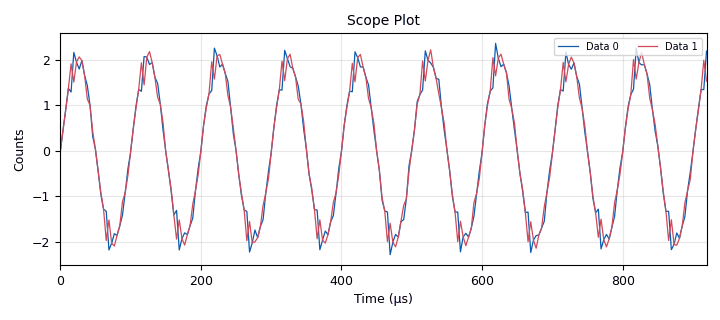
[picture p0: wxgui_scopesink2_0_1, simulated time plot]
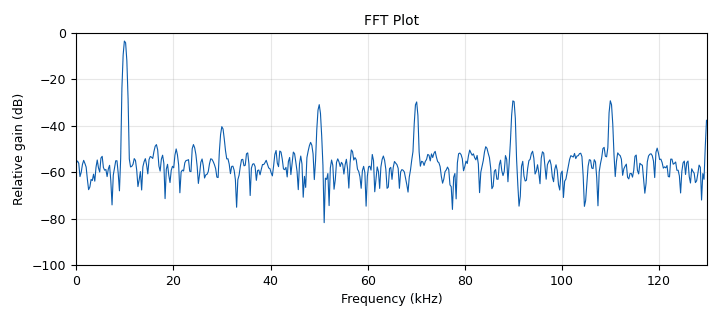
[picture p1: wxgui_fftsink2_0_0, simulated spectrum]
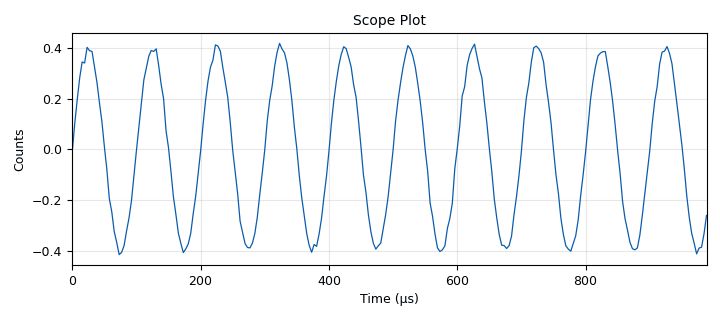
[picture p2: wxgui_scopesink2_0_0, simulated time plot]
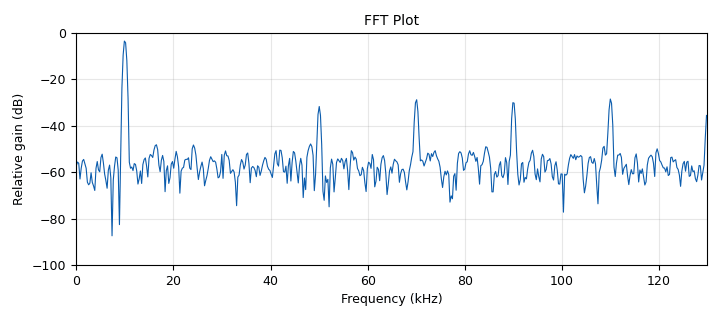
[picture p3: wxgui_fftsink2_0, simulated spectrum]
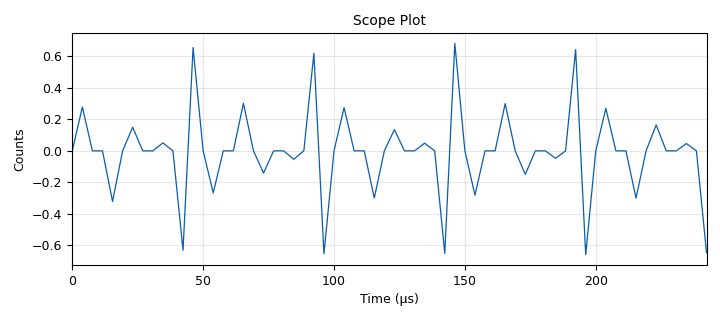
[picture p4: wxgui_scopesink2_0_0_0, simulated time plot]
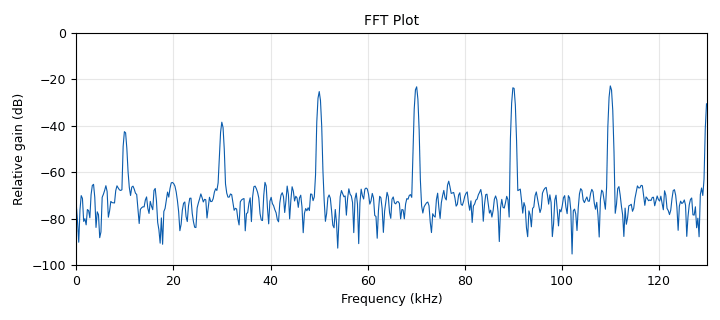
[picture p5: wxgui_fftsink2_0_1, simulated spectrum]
<?xml version='1.0' encoding='utf-8'?>
<flow_graph>
<block>
<key>options</key>
<param><key>id</key><value>top_block</value></param>
<param><key>generate_options</key><value>wx_gui</value></param>
<param><key>category</key><value>Custom</value></param>
</block>
<block>
<key>variable</key>
<param><key>id</key><value>samp_rate</value></param>
<param><key>value</key><value>260000</value></param>
</block>
<block>
<key>blocks_multiply_xx</key>
<param><key>id</key><value>blocks_multiply_xx_0_0</value></param>
<param><key>type</key><value>float</value></param>
</block>
<block>
<key>analog_sig_source_x</key>
<param><key>id</key><value>analog_sig_source_x_0_1</value></param>
<param><key>type</key><value>float</value></param>
<param><key>samp_rate</key><value>samp_rate</value></param>
<param><key>waveform</key><value>analog.GR_COS_WAVE</value></param>
<param><key>freq</key><value>100000</value></param>
<param><key>amp</key><value>1</value></param>
<param><key>offset</key><value>0</value></param>
</block>
<block>
<key>blocks_multiply_xx</key>
<param><key>id</key><value>blocks_multiply_xx_0_0_0</value></param>
<param><key>type</key><value>float</value></param>
</block>
<block>
<key>analog_sig_source_x</key>
<param><key>id</key><value>analog_sig_source_x_2</value></param>
<param><key>type</key><value>float</value></param>
<param><key>samp_rate</key><value>samp_rate</value></param>
<param><key>waveform</key><value>analog.GR_SQR_WAVE</value></param>
<param><key>freq</key><value>100000</value></param>
<param><key>amp</key><value>1</value></param>
<param><key>offset</key><value>0</value></param>
</block>
<block>
<key>analog_sig_source_x</key>
<param><key>id</key><value>analog_sig_source_x_2_0</value></param>
<param><key>type</key><value>float</value></param>
<param><key>samp_rate</key><value>samp_rate</value></param>
<param><key>waveform</key><value>analog.GR_SQR_WAVE</value></param>
<param><key>freq</key><value>100000</value></param>
<param><key>amp</key><value>1</value></param>
<param><key>offset</key><value>0</value></param>
</block>
<block>
<key>blocks_sub_xx</key>
<param><key>id</key><value>blocks_sub_xx_0</value></param>
<param><key>type</key><value>float</value></param>
</block>
<block>
<key>wxgui_scopesink2</key>
<param><key>id</key><value>wxgui_scopesink2_0_1</value></param>
<param><key>type</key><value>float</value></param>
<param><key>title</key><value>Scope Plot</value></param>
<param><key>samp_rate</key><value>samp_rate</value></param>
<param><key>v_scale</key><value>0</value></param>
<param><key>v_offset</key><value>0</value></param>
<param><key>t_scale</key><value>0</value></param>
<param><key>ac_couple</key><value>False</value></param>
<param><key>xy_mode</key><value>False</value></param>
<param><key>num_inputs</key><value>2</value></param>
<param><key>notebook</key><value>note,1</value></param>
<param><key>trig_mode</key><value>wxgui.TRIG_MODE_AUTO</value></param>
<param><key>y_axis_label</key><value>Counts</value></param>
</block>
<block>
<key>blocks_multiply_xx</key>
<param><key>id</key><value>blocks_multiply_xx_0_1</value></param>
<param><key>type</key><value>float</value></param>
</block>
<block>
<key>blocks_sub_xx</key>
<param><key>id</key><value>blocks_sub_xx_1</value></param>
<param><key>type</key><value>float</value></param>
</block>
<block>
<key>wxgui_fftsink2</key>
<param><key>id</key><value>wxgui_fftsink2_0_0</value></param>
<param><key>type</key><value>float</value></param>
<param><key>title</key><value>FFT Plot</value></param>
<param><key>samp_rate</key><value>samp_rate</value></param>
<param><key>baseband_freq</key><value>0</value></param>
<param><key>y_per_div</key><value>10</value></param>
<param><key>y_divs</key><value>10</value></param>
<param><key>ref_level</key><value>0</value></param>
<param><key>ref_scale</key><value>2.0</value></param>
<param><key>fft_size</key><value>1024</value></param>
<param><key>fft_rate</key><value>15</value></param>
<param><key>peak_hold</key><value>False</value></param>
<param><key>average</key><value>False</value></param>
<param><key>avg_alpha</key><value>0</value></param>
<param><key>win</key><value>None</value></param>
<param><key>notebook</key><value>note,3</value></param>
<param><key>freqvar</key><value>None</value></param>
</block>
<block>
<key>blocks_throttle</key>
<param><key>id</key><value>blocks_throttle_0</value></param>
<param><key>type</key><value>float</value></param>
<param><key>samples_per_second</key><value>samp_rate</value></param>
</block>
<block>
<key>blocks_multiply_xx</key>
<param><key>id</key><value>blocks_multiply_xx_0</value></param>
<param><key>type</key><value>float</value></param>
</block>
<block>
<key>blocks_add_xx</key>
<param><key>id</key><value>blocks_add_xx_1</value></param>
<param><key>type</key><value>float</value></param>
</block>
<block>
<key>wxgui_scopesink2</key>
<param><key>id</key><value>wxgui_scopesink2_0_0</value></param>
<param><key>type</key><value>float</value></param>
<param><key>title</key><value>Scope Plot</value></param>
<param><key>samp_rate</key><value>samp_rate</value></param>
<param><key>v_scale</key><value>0</value></param>
<param><key>v_offset</key><value>0</value></param>
<param><key>t_scale</key><value>0</value></param>
<param><key>ac_couple</key><value>False</value></param>
<param><key>xy_mode</key><value>False</value></param>
<param><key>num_inputs</key><value>1</value></param>
<param><key>notebook</key><value>note,2</value></param>
<param><key>trig_mode</key><value>wxgui.TRIG_MODE_AUTO</value></param>
<param><key>y_axis_label</key><value>Counts</value></param>
</block>
<block>
<key>wxgui_fftsink2</key>
<param><key>id</key><value>wxgui_fftsink2_0</value></param>
<param><key>type</key><value>float</value></param>
<param><key>title</key><value>FFT Plot</value></param>
<param><key>samp_rate</key><value>samp_rate</value></param>
<param><key>baseband_freq</key><value>0</value></param>
<param><key>y_per_div</key><value>10</value></param>
<param><key>y_divs</key><value>10</value></param>
<param><key>ref_level</key><value>0</value></param>
<param><key>ref_scale</key><value>2.0</value></param>
<param><key>fft_size</key><value>1024</value></param>
<param><key>fft_rate</key><value>15</value></param>
<param><key>peak_hold</key><value>False</value></param>
<param><key>average</key><value>False</value></param>
<param><key>avg_alpha</key><value>0</value></param>
<param><key>win</key><value>None</value></param>
<param><key>notebook</key><value>note,4</value></param>
<param><key>freqvar</key><value>None</value></param>
</block>
<block>
<key>wxgui_scopesink2</key>
<param><key>id</key><value>wxgui_scopesink2_0_0_0</value></param>
<param><key>type</key><value>float</value></param>
<param><key>title</key><value>Scope Plot</value></param>
<param><key>samp_rate</key><value>samp_rate</value></param>
<param><key>v_scale</key><value>0</value></param>
<param><key>v_offset</key><value>0</value></param>
<param><key>t_scale</key><value>0</value></param>
<param><key>ac_couple</key><value>False</value></param>
<param><key>xy_mode</key><value>False</value></param>
<param><key>num_inputs</key><value>1</value></param>
<param><key>notebook</key><value>note,0</value></param>
<param><key>trig_mode</key><value>wxgui.TRIG_MODE_AUTO</value></param>
<param><key>y_axis_label</key><value>Counts</value></param>
</block>
<block>
<key>analog_sig_source_x</key>
<param><key>id</key><value>analog_sig_source_x_0_0</value></param>
<param><key>type</key><value>float</value></param>
<param><key>samp_rate</key><value>samp_rate</value></param>
<param><key>waveform</key><value>analog.GR_SIN_WAVE</value></param>
<param><key>freq</key><value>10000</value></param>
<param><key>amp</key><value>.4</value></param>
<param><key>offset</key><value>0</value></param>
</block>
<block>
<key>analog_noise_source_x</key>
<param><key>id</key><value>analog_noise_source_x_0</value></param>
<param><key>type</key><value>float</value></param>
<param><key>noise_type</key><value>analog.GR_GAUSSIAN</value></param>
<param><key>amp</key><value>.01</value></param>
<param><key>seed</key><value>0</value></param>
</block>
<block>
<key>blocks_add_xx</key>
<param><key>id</key><value>blocks_add_xx_0</value></param>
<param><key>type</key><value>float</value></param>
</block>
<block>
<key>wxgui_fftsink2</key>
<param><key>id</key><value>wxgui_fftsink2_0_1</value></param>
<param><key>type</key><value>float</value></param>
<param><key>title</key><value>FFT Plot</value></param>
<param><key>samp_rate</key><value>samp_rate</value></param>
<param><key>baseband_freq</key><value>0</value></param>
<param><key>y_per_div</key><value>10</value></param>
<param><key>y_divs</key><value>10</value></param>
<param><key>ref_level</key><value>0</value></param>
<param><key>ref_scale</key><value>2.0</value></param>
<param><key>fft_size</key><value>1024</value></param>
<param><key>fft_rate</key><value>15</value></param>
<param><key>peak_hold</key><value>False</value></param>
<param><key>average</key><value>False</value></param>
<param><key>avg_alpha</key><value>0</value></param>
<param><key>win</key><value>None</value></param>
<param><key>notebook</key><value>note,5</value></param>
<param><key>freqvar</key><value>None</value></param>
</block>
<block>
<key>notebook</key>
<param><key>id</key><value>note</value></param>
<param><key>style</key><value>wx.NB_TOP</value></param>
<param><key>labels</key><value>['B-C', 'B &amp; C','A','FFT B','FFT B-C','FFT C']</value></param>
</block>
<block>
<key>analog_sig_source_x</key>
<param><key>id</key><value>analog_sig_source_x_0</value></param>
<param><key>type</key><value>float</value></param>
<param><key>samp_rate</key><value>samp_rate</value></param>
<param><key>waveform</key><value>analog.GR_COS_WAVE</value></param>
<param><key>freq</key><value>100000</value></param>
<param><key>amp</key><value>1</value></param>
<param><key>offset</key><value>0</value></param>
</block>
<block>
<key>analog_sig_source_x</key>
<param><key>id</key><value>analog_sig_source_x_1</value></param>
<param><key>type</key><value>float</value></param>
<param><key>samp_rate</key><value>samp_rate</value></param>
<param><key>waveform</key><value>analog.GR_CONST_WAVE</value></param>
<param><key>freq</key><value>0</value></param>
<param><key>amp</key><value>5</value></param>
<param><key>offset</key><value>0</value></param>
</block>
<block>
<key>analog_sig_source_x</key>
<param><key>id</key><value>analog_sig_source_x_1_0</value></param>
<param><key>type</key><value>float</value></param>
<param><key>samp_rate</key><value>samp_rate</value></param>
<param><key>waveform</key><value>analog.GR_CONST_WAVE</value></param>
<param><key>freq</key><value>0</value></param>
<param><key>amp</key><value>5</value></param>
<param><key>offset</key><value>0</value></param>
</block>
<connection><source_block_id>analog_noise_source_x_0</source_block_id><sink_block_id>blocks_add_xx_0</sink_block_id><source_key>0</source_key><sink_key>1</sink_key></connection>
<connection><source_block_id>analog_sig_source_x_0_0</source_block_id><sink_block_id>blocks_add_xx_0</sink_block_id><source_key>0</source_key><sink_key>0</sink_key></connection>
<connection><source_block_id>blocks_multiply_xx_0_0</source_block_id><sink_block_id>blocks_add_xx_1</sink_block_id><source_key>0</source_key><sink_key>1</sink_key></connection>
<connection><source_block_id>analog_sig_source_x_1</source_block_id><sink_block_id>blocks_add_xx_1</sink_block_id><source_key>0</source_key><sink_key>0</sink_key></connection>
<connection><source_block_id>analog_sig_source_x_2</source_block_id><sink_block_id>blocks_multiply_xx_0_0</sink_block_id><source_key>0</source_key><sink_key>1</sink_key></connection>
<connection><source_block_id>analog_sig_source_x_0</source_block_id><sink_block_id>blocks_multiply_xx_0_0</sink_block_id><source_key>0</source_key><sink_key>0</sink_key></connection>
<connection><source_block_id>blocks_add_xx_1</source_block_id><sink_block_id>blocks_multiply_xx_0</sink_block_id><source_key>0</source_key><sink_key>0</sink_key></connection>
<connection><source_block_id>analog_sig_source_x_2_0</source_block_id><sink_block_id>blocks_multiply_xx_0_0_0</sink_block_id><source_key>0</source_key><sink_key>1</sink_key></connection>
<connection><source_block_id>analog_sig_source_x_0_1</source_block_id><sink_block_id>blocks_multiply_xx_0_0_0</sink_block_id><source_key>0</source_key><sink_key>0</sink_key></connection>
<connection><source_block_id>analog_sig_source_x_1_0</source_block_id><sink_block_id>blocks_sub_xx_0</sink_block_id><source_key>0</source_key><sink_key>0</sink_key></connection>
<connection><source_block_id>blocks_multiply_xx_0_0_0</source_block_id><sink_block_id>blocks_sub_xx_0</sink_block_id><source_key>0</source_key><sink_key>1</sink_key></connection>
<connection><source_block_id>blocks_sub_xx_0</source_block_id><sink_block_id>blocks_multiply_xx_0_1</sink_block_id><source_key>0</source_key><sink_key>1</sink_key></connection>
<connection><source_block_id>blocks_add_xx_0</source_block_id><sink_block_id>blocks_multiply_xx_0</sink_block_id><source_key>0</source_key><sink_key>1</sink_key></connection>
<connection><source_block_id>blocks_add_xx_0</source_block_id><sink_block_id>wxgui_scopesink2_0_0</sink_block_id><source_key>0</source_key><sink_key>0</sink_key></connection>
<connection><source_block_id>blocks_multiply_xx_0_1</source_block_id><sink_block_id>wxgui_scopesink2_0_1</sink_block_id><source_key>0</source_key><sink_key>1</sink_key></connection>
<connection><source_block_id>blocks_multiply_xx_0</source_block_id><sink_block_id>wxgui_scopesink2_0_1</sink_block_id><source_key>0</source_key><sink_key>0</sink_key></connection>
<connection><source_block_id>blocks_multiply_xx_0_1</source_block_id><sink_block_id>blocks_sub_xx_1</sink_block_id><source_key>0</source_key><sink_key>1</sink_key></connection>
<connection><source_block_id>blocks_multiply_xx_0</source_block_id><sink_block_id>blocks_sub_xx_1</sink_block_id><source_key>0</source_key><sink_key>0</sink_key></connection>
<connection><source_block_id>blocks_multiply_xx_0_1</source_block_id><sink_block_id>wxgui_fftsink2_0</sink_block_id><source_key>0</source_key><sink_key>0</sink_key></connection>
<connection><source_block_id>blocks_sub_xx_1</source_block_id><sink_block_id>wxgui_scopesink2_0_0_0</sink_block_id><source_key>0</source_key><sink_key>0</sink_key></connection>
<connection><source_block_id>blocks_sub_xx_1</source_block_id><sink_block_id>wxgui_fftsink2_0_1</sink_block_id><source_key>0</source_key><sink_key>0</sink_key></connection>
<connection><source_block_id>blocks_throttle_0</source_block_id><sink_block_id>wxgui_fftsink2_0_0</sink_block_id><source_key>0</source_key><sink_key>0</sink_key></connection>
<connection><source_block_id>blocks_multiply_xx_0</source_block_id><sink_block_id>blocks_throttle_0</sink_block_id><source_key>0</source_key><sink_key>0</sink_key></connection>
<connection><source_block_id>blocks_add_xx_0</source_block_id><sink_block_id>blocks_multiply_xx_0_1</sink_block_id><source_key>0</source_key><sink_key>0</sink_key></connection>
</flow_graph>
